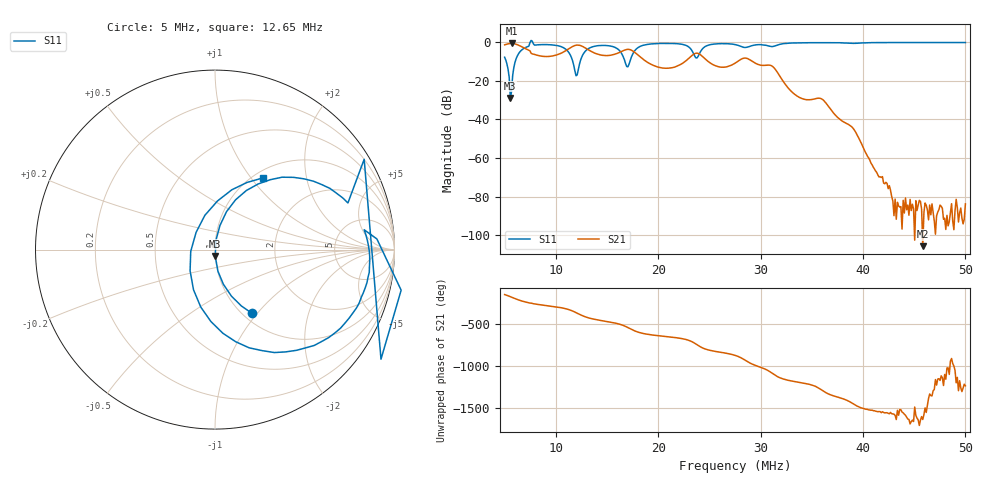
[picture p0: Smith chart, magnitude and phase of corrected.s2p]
! S11/S21 only; reverse parameters are placeholders. Device calibration unverified.
! [Saver CAL applied] C:\Users\aknya\MyProjects\rf-simulator\calibration2.cal | Ideal standards assumed | Input: NanoVNA F V2 profile | COM3 | 2026-09-08T12:35:38.8256560-04:00 | device calibration unverified
# HZ S RI R 50
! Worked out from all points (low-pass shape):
!   401 points, 5 MHz to 50 MHz, reference 50 ohm
!   highest |S21| = -0.66 dB at 5.675 MHz (marker M1); lowest = -105.5 dB at 45.84 MHz (marker M2)
!   |S21| within 3 dB of the highest: start of sweep to 7.142 MHz; 11.2 MHz to 13.09 MHz (1.894 MHz wide, 15.6 % of centre)
!   lowest |S11| = -28.9 dB at 5.562 MHz (marker M3), VSWR 1.07, Z = 50 - j3.6 ohm
!   |S11| at or under -10 dB: 5.157 MHz to 6.039 MHz (882.6 kHz wide, 15.8 % of centre); 11.66 MHz to 12.38 MHz (727.5 kHz wide, 6.05 % of centre); 16.75 MHz to 17.24 MHz (481.4 kHz wide, 2.83 % of centre)
!   S12 and S22 are empty: the file has one direction only
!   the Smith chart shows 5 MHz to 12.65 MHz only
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5000000  0.2039 -0.3537  -0.7133 -0.467  0 0  0 0
5562500  0.00134 -0.0359  -0.9172 -0.1239  0 0  0 0
5675000  0.00541 0.0524  -0.9266 -0.0331  0 0  0 0
6575000  0.4373 0.4025  -0.6013 0.5032  0 0  0 0
7700000  1.037 -0.2262  -0.1449 0.4761  0 0  0 0
1.09625e7  0.3306 -0.5736  0.4315 0.4164  0 0  0 0
1.1975e7  -0.1352 -0.00961  0.8338 -0.0404  0 0  0 0
1.25375e7  0.1783 0.3741  0.6394 -0.4662  0 0  0 0
1.4675e7  0.8076 -0.1728  -0.099 -0.4429  0 0  0 0
1.61375e7  0.3118 -0.5552  -0.394 -0.3572  0 0  0 0
1.6925e7  -0.2214 -0.0785  -0.6454 -0.0629  0 0  0 0
1.7825e7  0.3495 0.5493  -0.3511 0.3766  0 0  0 0
2.0075e7  0.9269 0.00766  0.0367 0.2207  0 0  0 0
2.35625e7  0.3577 -0.2541  0.4987 -0.0741  0 0  0 0
2.5025e7  0.848 -0.1166  -0.0142 -0.2958  0 0  0 0
2.75e7  0.7354 -0.4617  -0.2548 -0.1282  0 0  0 0
2.9075e7  0.7229 -0.3437  -0.1017 0.3181  0 0  0 0
3.50375e7  0.7025 -0.6699  -0.0286 -0.0166  0 0  0 0
3.8975e7  0.5335 -0.7657  0.00611 -0.00077  0 0  0 0
4.2575e7  0.442 -0.8723  -0.000129 -0.000145  0 0  0 0
4.58375e7  0.3155 -0.9272  -4.96e-06 1.82e-06  0 0  0 0
5e7  0.1583 -0.9655  -6.07e-05 -2.48e-05  0 0  0 0
